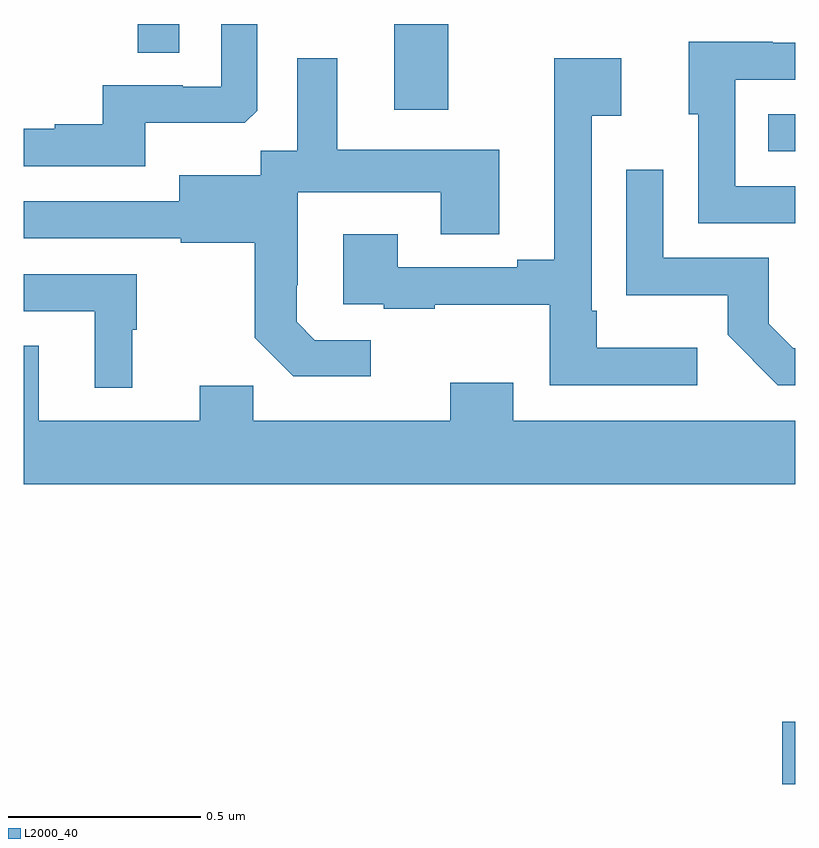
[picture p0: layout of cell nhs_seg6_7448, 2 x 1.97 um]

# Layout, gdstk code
import gdstk
lib = gdstk.Library(unit=1e-6, precision=1e-09)
def R(c, l, rs):  # rectangles x0, y0, x1, y1
    for r in rs: c.add(gdstk.rectangle(r[:2], r[2:], *l))
def P(c, l, *ps):  # polygons
    for p in ps: c.add(gdstk.Polygon(p, *l))
L2000_40 = (2000, 40)

nhs_seg6_7448 = lib.new_cell('nhs_seg6_7448')
R(nhs_seg6_7448, L2000_40, [(209.966,974.531,210,974.692), (209.929,976.17,210,976.266), (208.961,976.278,209.101,976.5), (208.296,976.426,208.404,976.5)])
P(nhs_seg6_7448, L2000_40, [(208.315,976.244),(208.573,976.244),(208.605,976.275),(208.605,976.5),(208.512,976.5),(208.512,976.338),(208.412,976.338),(208.412,976.341),(208.205,976.341),(208.205,976.24),(208.081,976.24),(208.081,976.228),(208,976.228),(208,976.131),(208.315,976.131)],
  [(210,976.08),(209.844,976.08),(209.844,976.356),(210,976.356),(210,976.452),(209.941,976.452),(209.941,976.454),(209.723,976.454),(209.723,976.266),(209.748,976.266),(209.748,975.984),(210,975.984)],
  [(208.9,975.681),(208.755,975.681),(208.708,975.728),(208.708,975.823),(208.71,975.823),(208.71,976.064),(209.081,976.064),(209.081,975.955),(209.233,975.955),(209.233,976.174),(208.813,976.174),(208.813,976.411),(208.709,976.411),(208.709,976.172),(208.614,976.172),(208.614,976.108),(208.403,976.108),(208.403,976.041),(208,976.041),(208,975.945),(208.407,975.945),(208.407,975.933),(208.599,975.933),(208.599,975.687),(208.699,975.587),(208.9,975.587)],
  [(209.746,975.661),(209.485,975.661),(209.485,975.757),(209.472,975.757),(209.472,976.262),(209.548,976.262),(209.548,976.411),(209.375,976.411),(209.375,975.889),(209.279,975.889),(209.279,975.87),(208.969,975.87),(208.969,975.955),(208.829,975.955),(208.829,975.774),(208.933,975.774),(208.933,975.762),(209.065,975.762),(209.065,975.773),(209.364,975.773),(209.364,975.564),(209.746,975.564)],
  [(210,975.66),(209.994,975.66),(209.931,975.723),(209.931,975.894),(209.658,975.894),(209.658,976.123),(209.562,976.123),(209.562,975.797),(209.824,975.797),(209.824,975.695),(209.954,975.564),(210,975.564)],
  [(208.282,975.708),(208.294,975.708),(208.294,975.852),(208,975.852),(208,975.756),(208.184,975.756),(208.184,975.557),(208.282,975.557)],
  [(210,975.472),(209.269,975.472),(209.269,975.571),(209.105,975.571),(209.105,975.472),(208.595,975.472),(208.595,975.563),(208.457,975.563),(208.457,975.472),(208.039,975.472),(208.039,975.667),(208,975.667),(208,975.308),(210,975.308)])

lib.write_gds('nhs_seg6_7448.gds')
